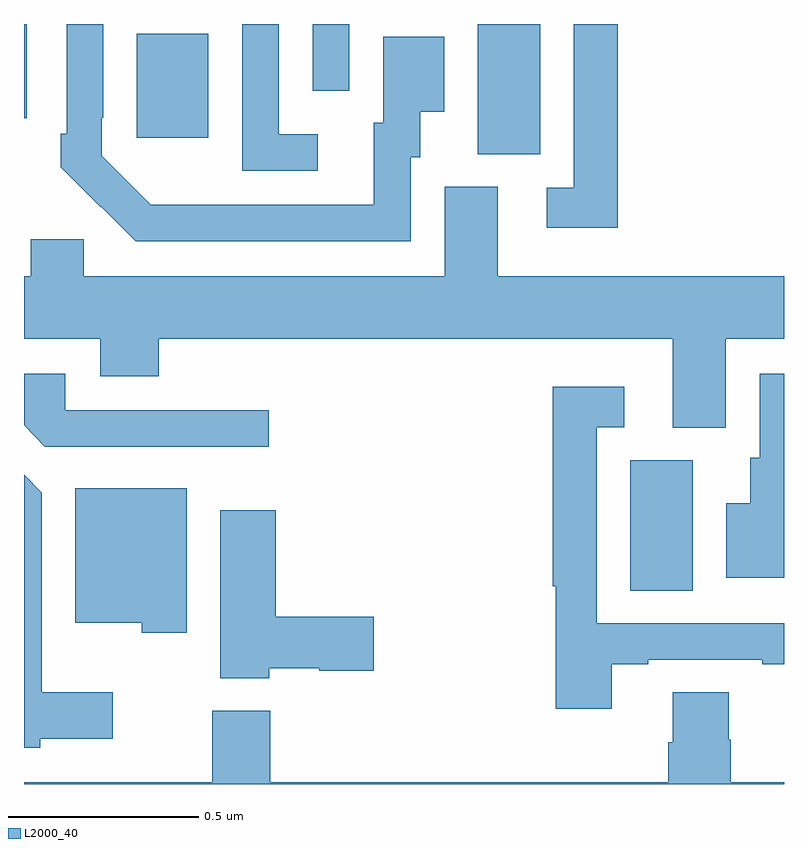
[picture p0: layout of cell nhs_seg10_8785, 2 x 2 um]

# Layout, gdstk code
import gdstk
lib = gdstk.Library(unit=1e-6, precision=1e-09)
def R(c, l, rs):  # rectangles x0, y0, x1, y1
    for r in rs: c.add(gdstk.rectangle(r[:2], r[2:], *l))
def P(c, l, *ps):  # polygons
    for p in ps: c.add(gdstk.Polygon(p, *l))
L2000_40 = (2000, 40)

nhs_seg10_8785 = lib.new_cell('nhs_seg10_8785')
R(nhs_seg10_8785, L2000_40, [(222.596,1277.008,222.76,1277.352), (222.194,1278.157,222.358,1278.5), (221.297,1278.201,221.485,1278.475), (221,1278.252,221.007,1278.5), (221.76,1278.324,221.856,1278.5)])
P(nhs_seg10_8785, L2000_40, [(222.563,1278.5),(222.447,1278.5),(222.447,1278.069),(222.375,1278.069),(222.375,1277.964),(222.563,1277.964)],
  [(222.018,1278.15),(222.043,1278.15),(222.043,1278.269),(222.106,1278.269),(222.106,1278.466),(221.945,1278.466),(221.945,1278.24),(221.921,1278.24),(221.921,1278.024),(221.437,1278.024),(221.437,1278.025),(221.334,1278.025),(221.205,1278.153),(221.205,1278.253),(221.208,1278.253),(221.208,1278.5),(221.112,1278.5),(221.112,1278.211),(221.097,1278.211),(221.097,1278.123),(221.202,1278.018),(221.203,1278.019),(221.294,1277.928),(222.018,1277.928)],
  [(221.773,1278.21),(221.67,1278.21),(221.67,1278.5),(221.574,1278.5),(221.574,1278.114),(221.773,1278.114)],
  [(222.847,1277.672),(223,1277.672),(223,1277.836),(222.247,1277.836),(222.247,1278.072),(222.107,1278.072),(222.107,1277.836),(221.157,1277.836),(221.157,1277.934),(221.018,1277.934),(221.018,1277.836),(221,1277.836),(221,1277.672),(221.201,1277.672),(221.201,1277.573),(221.354,1277.573),(221.354,1277.672),(222.707,1277.672),(222.707,1277.437),(222.847,1277.437)],
  [(223,1277.58),(222.936,1277.58),(222.936,1277.358),(222.911,1277.358),(222.911,1277.239),(222.848,1277.239),(222.848,1277.043),(223,1277.043)],
  [(221.644,1277.484),(221.109,1277.484),(221.109,1277.58),(221,1277.58),(221,1277.444),(221.055,1277.388),(221.644,1277.388)],
  [(222.547,1276.815),(222.643,1276.815),(222.643,1276.827),(222.943,1276.827),(222.943,1276.815),(223,1276.815),(223,1276.923),(222.507,1276.923),(222.507,1277.439),(222.58,1277.439),(222.58,1277.545),(222.391,1277.545),(222.391,1277.02),(222.399,1277.02),(222.399,1276.698),(222.547,1276.698)],
  [(221.043,1276.619),(221.233,1276.619),(221.233,1276.741),(221.047,1276.741),(221.047,1277.267),(221,1277.314),(221,1276.595),(221.043,1276.595)],
  [(221.428,1277.278),(221.135,1277.278),(221.135,1276.925),(221.31,1276.925),(221.31,1276.898),(221.428,1276.898)],
  [(221.646,1276.805),(221.777,1276.805),(221.777,1276.798),(221.92,1276.798),(221.92,1276.94),(221.663,1276.94),(221.663,1277.221),(221.516,1277.221),(221.516,1276.778),(221.646,1276.778)],
  [(222.707,1276.742),(222.707,1276.61),(222.695,1276.61),(222.695,1276.504),(221.648,1276.504),(221.648,1276.693),(221.495,1276.693),(221.495,1276.504),(221,1276.504),(221,1276.5),(223,1276.5),(223,1276.504),(222.86,1276.504),(222.86,1276.617),(222.855,1276.617),(222.855,1276.742)])

lib.write_gds('nhs_seg10_8785.gds')
